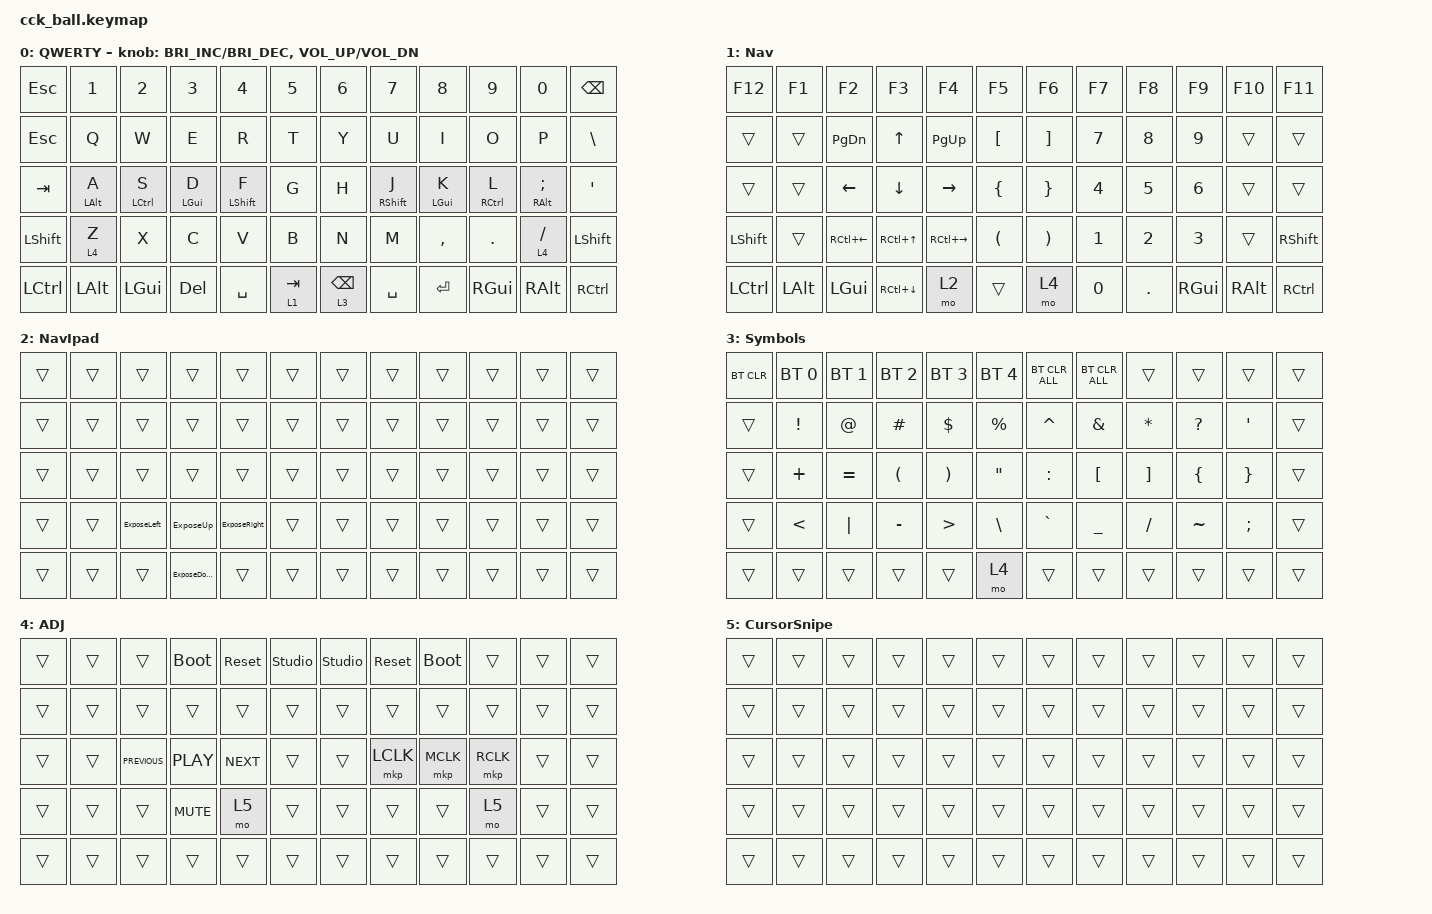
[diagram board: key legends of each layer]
#define ZMK_POINTING_DEFAULT_MOVE_VAL 1000 // 600
#define ZMK_POINTING_DEFAULT_SCRL_VAL 12   // 10

#include <input/processors.dtsi>
#include <zephyr/dt-bindings/input/input-event-codes.h>
#include <behaviors.dtsi>
#include <dt-bindings/zmk/bt.h>
#include <dt-bindings/zmk/keys.h>
#include <dt-bindings/zmk/pointing.h>

&mmv_input_listener { input-processors = <&zip_xy_scaler 2 1>; };

&msc_input_listener { input-processors = <&zip_scroll_scaler 2 1>; };

&msc {
    acceleration-exponent = <0>;      // 0
    time-to-max-speed-ms = <300>;       // 300
    delay-ms = <0>;                   // 0
};

&mmv {
    time-to-max-speed-ms = <500>;
    acceleration-exponent = <1>;
    trigger-period-ms = <16>;
};

&soft_off { hold-time-ms = <2000>; };

&mt {
    flavor = "tap-preferred";
    quick-tap-ms = <200>;
    tapping-term-ms = <200>;
};

/ {
    // Vertical scroll encoder behavior

    scroll_vertical_encoder: scroll_vertical_encoder {
        compatible = "zmk,behavior-sensor-rotate";
        #sensor-binding-cells = <0>;
        bindings = <&msc SCRL_DOWN>, <&msc SCRL_UP>;

        tap-ms = <100>;
    };

    // Horizontal scroll encoder behavior

    scroll_horizontal_encoder: scroll_horizontal_encoder {
        compatible = "zmk,behavior-sensor-rotate";
        #sensor-binding-cells = <0>;
        bindings = <&msc SCRL_LEFT>, <&msc SCRL_RIGHT>;

        tap-ms = <100>;
    };

    behaviors {
    };

    macros {
        ExposeUp: ExposeUp {
            compatible = "zmk,behavior-macro";
            #binding-cells = <0>;
            bindings =
                <&macro_press>,
                <&kp GLOBE>,
                <&macro_tap>,
                <&kp UP_ARROW>,
                <&macro_release>,
                <&kp GLOBE>;

            label = "EXPOSEUP";
        };

        ExposeDown: ExposeDown {
            compatible = "zmk,behavior-macro";
            #binding-cells = <0>;
            bindings =
                <&macro_press>,
                <&kp GLOBE>,
                <&macro_tap>,
                <&kp DOWN>,
                <&macro_release>,
                <&kp GLOBE>;

            label = "EXPOSEDOWN";
        };

        ExposeLeft: ExposeLeft {
            compatible = "zmk,behavior-macro";
            #binding-cells = <0>;
            bindings =
                <&macro_press>,
                <&kp GLOBE>,
                <&macro_tap>,
                <&kp LEFT_ARROW>,
                <&macro_release>,
                <&kp GLOBE>;

            label = "EXPOSELEFT";
        };

        ExposeRight: ExposeRight {
            compatible = "zmk,behavior-macro";
            #binding-cells = <0>;
            bindings =
                <&macro_press>,
                <&kp GLOBE>,
                <&macro_tap>,
                <&kp RIGHT>,
                <&macro_release>,
                <&kp GLOBE>;

            label = "EXPOSERIGHT";
        };
    };

    keymap {
        compatible = "zmk,keymap";

        QWERTY {
            bindings = <
&kp ESC           &kp N1          &kp N2              &kp N3          &kp N4            &kp N5     &kp N6           &kp N7             &kp N8          &kp N9               &kp N0              &kp BACKSPACE
&kp ESCAPE        &kp Q           &kp W               &kp E           &kp R             &kp T      &kp Y            &kp U              &kp I           &kp O                &kp P               &kp BSLH
&kp TAB           &mt LEFT_ALT A  &mt LEFT_CONTROL S  &mt LEFT_GUI D  &mt LEFT_SHIFT F  &kp G      &kp H            &mt RIGHT_SHIFT J  &mt LEFT_GUI K  &mt RIGHT_CONTROL L  &mt RIGHT_ALT SEMI  &kp SQT
&kp LEFT_SHIFT    &lt 4 Z         &kp X               &kp C           &kp V             &kp B      &kp N            &kp M              &kp COMMA       &kp DOT              &lt 4 SLASH         &kp LEFT_SHIFT
&kp LEFT_CONTROL  &kp LEFT_ALT    &kp LEFT_GUI        &kp DELETE      &kp SPACE         &lt 1 TAB  &lt 3 BACKSPACE  &kp SPACE          &kp ENTER       &kp RIGHT_GUI        &kp RIGHT_ALT       &kp RIGHT_CONTROL
            >;

            // The only encoder definition: left = brightness, right = volume.
            // Sensor bindings fall through layers the same way &trans does for
            // keys, so the other layers deliberately define none and inherit
            // these. A layer only needs its own block if it wants something
            // different.
            sensor-bindings =
                <&inc_dec_kp C_BRIGHTNESS_INC C_BRIGHTNESS_DEC>,
                <&inc_dec_kp C_VOLUME_UP C_VOL_DN>;
        };

        Nav {
            bindings = <
&kp F12           &kp F1        &kp F2          &kp F3              &kp F4         &kp F5                &kp F6                 &kp F7        &kp F8        &kp F9         &kp F10        &kp F11
&trans            &trans        &kp PG_DN       &kp UP_ARROW        &kp PAGE_UP    &kp LEFT_BRACKET      &kp RIGHT_BRACKET      &kp N7        &kp N8        &kp N9         &trans         &trans
&trans            &trans        &kp LEFT_ARROW  &kp DOWN_ARROW      &kp RIGHT      &kp LEFT_BRACE        &kp RIGHT_BRACE        &kp NUMBER_4  &kp N5        &kp NUMBER_6   &trans         &trans
&kp LEFT_SHIFT    &trans        &kp RC(LEFT)    &kp RC(UP_ARROW)    &kp RC(RIGHT)  &kp LEFT_PARENTHESIS  &kp RIGHT_PARENTHESIS  &kp NUMBER_1  &kp NUMBER_2  &kp NUMBER_3   &trans         &kp RIGHT_SHIFT
&kp LEFT_CONTROL  &kp LEFT_ALT  &kp LEFT_GUI    &kp RC(DOWN_ARROW)  &mo 2          &trans                &mo 4                  &kp N0        &kp DOT       &kp RIGHT_GUI  &kp RIGHT_ALT  &kp RIGHT_CONTROL
            >;
        };

        NavIpad {
            // Only the 4 keys that differ from Nav (Globe+arrow = iPad space
            // switching). Everything else is &trans and falls through to Nav,
            // which is always held underneath, so there are no duplicated
            // bindings to keep in sync between the two layers.
            bindings = <
&trans  &trans  &trans       &trans       &trans        &trans  &trans  &trans  &trans  &trans  &trans  &trans
&trans  &trans  &trans       &trans       &trans        &trans  &trans  &trans  &trans  &trans  &trans  &trans
&trans  &trans  &trans       &trans       &trans        &trans  &trans  &trans  &trans  &trans  &trans  &trans
&trans  &trans  &ExposeLeft  &ExposeUp    &ExposeRight  &trans  &trans  &trans  &trans  &trans  &trans  &trans
&trans  &trans  &trans       &ExposeDown  &trans        &trans  &trans  &trans  &trans  &trans  &trans  &trans
            >;
        };

        Symbols {
            bindings = <
&bt BT_CLR  &bt BT_SEL 0   &bt BT_SEL 1  &bt BT_SEL 2          &bt BT_SEL 3           &bt BT_SEL 4       &bt BT_CLR_ALL  &bt BT_CLR_ALL    &trans             &trans          &trans           &trans
&trans      &kp EXCL       &kp AT        &kp HASH              &kp DOLLAR             &kp PERCENT        &kp CARET       &kp AMPS          &kp ASTRK          &kp QUESTION    &kp APOS         &trans
&trans      &kp PLUS       &kp EQUAL     &kp LEFT_PARENTHESIS  &kp RIGHT_PARENTHESIS  &kp DOUBLE_QUOTES  &kp COLON       &kp LEFT_BRACKET  &kp RIGHT_BRACKET  &kp LEFT_BRACE  &kp RIGHT_BRACE  &trans
&trans      &kp LESS_THAN  &kp PIPE      &kp MINUS             &kp GREATER_THAN       &kp BACKSLASH      &kp GRAVE       &kp UNDER         &kp SLASH          &kp TILDE       &kp SEMI         &trans
&trans      &trans         &trans        &trans                &trans                 &mo 4              &trans          &trans            &trans             &trans          &trans           &trans
            >;
        };

        ADJ {
            bindings = <
&trans  &trans  &trans          &bootloader  &sys_reset  &studio_unlock  &studio_unlock  &sys_reset  &bootloader  &trans     &trans  &trans
&trans  &trans  &trans          &trans       &trans      &trans          &trans          &trans      &trans       &trans     &trans  &trans
&trans  &trans  &kp C_PREVIOUS  &kp C_PLAY   &kp C_NEXT  &trans          &trans          &mkp LCLK   &mkp MCLK    &mkp RCLK  &trans  &trans
&trans  &trans  &trans          &kp C_MUTE   &mo 5       &trans          &trans          &trans      &trans       &mo 5      &trans  &trans
&trans  &trans  &trans          &trans       &trans      &trans          &trans          &trans      &trans       &trans     &trans  &trans
            >;
        };

        CursorSnipe {
            bindings = <
&trans  &trans  &trans  &trans  &trans  &trans  &trans  &trans  &trans  &trans  &trans  &trans
&trans  &trans  &trans  &trans  &trans  &trans  &trans  &trans  &trans  &trans  &trans  &trans
&trans  &trans  &trans  &trans  &trans  &trans  &trans  &trans  &trans  &trans  &trans  &trans
&trans  &trans  &trans  &trans  &trans  &trans  &trans  &trans  &trans  &trans  &trans  &trans
&trans  &trans  &trans  &trans  &trans  &trans  &trans  &trans  &trans  &trans  &trans  &trans
            >;
        };
    };
};
